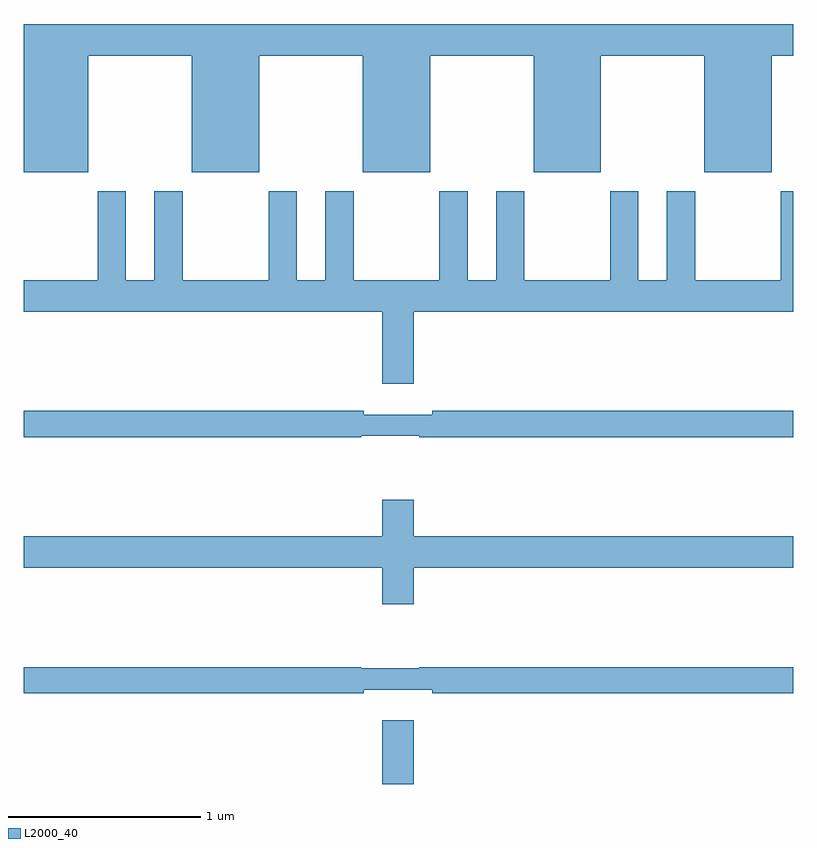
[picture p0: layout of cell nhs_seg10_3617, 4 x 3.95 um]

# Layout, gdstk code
import gdstk
lib = gdstk.Library(unit=1e-6, precision=1e-09)
def R(c, l, rs):  # rectangles x0, y0, x1, y1
    for r in rs: c.add(gdstk.rectangle(r[:2], r[2:], *l))
def P(c, l, *ps):  # polygons
    for p in ps: c.add(gdstk.Polygon(p, *l))
L2000_40 = (2000, 40)

nhs_seg10_3617 = lib.new_cell('nhs_seg10_3617')
R(nhs_seg10_3617, L2000_40, [(308.864,1324.5,309.028,1324.831)])
P(nhs_seg10_3617, L2000_40, [(307.336,1328.288),(307.874,1328.288),(307.874,1327.682),(308.224,1327.682),(308.224,1328.288),(308.762,1328.288),(308.762,1327.682),(309.112,1327.682),(309.112,1328.288),(309.65,1328.288),(309.65,1327.682),(310,1327.682),(310,1328.288),(310.538,1328.288),(310.538,1327.682),(310.888,1327.682),(310.888,1328.288),(311,1328.288),(311,1328.452),(307,1328.452),(307,1327.682),(307.336,1327.682)],
  [(311,1327.582),(310.936,1327.582),(310.936,1327.12),(310.491,1327.12),(310.491,1327.582),(310.343,1327.582),(310.343,1327.12),(310.195,1327.12),(310.195,1327.582),(310.048,1327.582),(310.048,1327.12),(309.603,1327.12),(309.603,1327.582),(309.455,1327.582),(309.455,1327.12),(309.307,1327.12),(309.307,1327.582),(309.16,1327.582),(309.16,1327.12),(308.715,1327.12),(308.715,1327.582),(308.567,1327.582),(308.567,1327.12),(308.419,1327.12),(308.419,1327.582),(308.272,1327.582),(308.272,1327.12),(307.827,1327.12),(307.827,1327.582),(307.679,1327.582),(307.679,1327.12),(307.531,1327.12),(307.531,1327.582),(307.384,1327.582),(307.384,1327.12),(307,1327.12),(307,1326.956),(308.864,1326.956),(308.864,1326.582),(309.028,1326.582),(309.028,1326.956),(311,1326.956)],
  [(308.755,1326.312),(309.055,1326.312),(309.055,1326.304),(311,1326.304),(311,1326.44),(309.124,1326.44),(309.124,1326.421),(308.768,1326.421),(308.768,1326.44),(307,1326.44),(307,1326.304),(308.755,1326.304)],
  [(309.028,1325.624),(311,1325.624),(311,1325.788),(309.028,1325.788),(309.028,1325.977),(308.864,1325.977),(308.864,1325.788),(307,1325.788),(307,1325.624),(308.864,1325.624),(308.864,1325.436),(309.028,1325.436)],
  [(308.768,1324.991),(309.124,1324.991),(309.124,1324.972),(311,1324.972),(311,1325.108),(309.055,1325.108),(309.055,1325.101),(308.755,1325.101),(308.755,1325.108),(307,1325.108),(307,1324.972),(308.768,1324.972)])

lib.write_gds('nhs_seg10_3617.gds')
